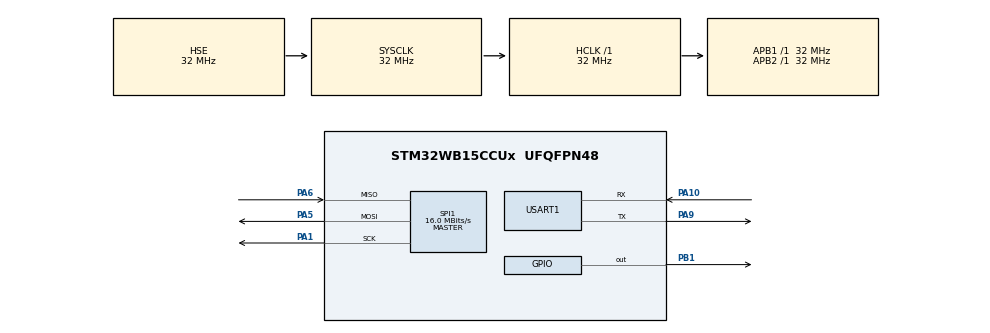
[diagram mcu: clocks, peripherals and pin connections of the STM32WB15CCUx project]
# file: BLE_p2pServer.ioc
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Dma.Request0=USART1_TX
Dma.USART1_TX.0.Direction=DMA_MEMORY_TO_PERIPH
Dma.USART1_TX.0.EventEnable=DISABLE
Dma.USART1_TX.0.Instance=DMA1_Channel4
Dma.USART1_TX.0.MemDataAlignment=DMA_MDATAALIGN_BYTE
Dma.USART1_TX.0.MemInc=DMA_MINC_ENABLE
Dma.USART1_TX.0.Mode=DMA_NORMAL
Dma.USART1_TX.0.PeriphDataAlignment=DMA_PDATAALIGN_BYTE
Dma.USART1_TX.0.PeriphInc=DMA_PINC_DISABLE
Dma.USART1_TX.0.Polarity=HAL_DMAMUX_REQ_GEN_RISING
Dma.USART1_TX.0.Priority=DMA_PRIORITY_LOW
Dma.USART1_TX.0.RequestNumber=1
Dma.USART1_TX.0.SignalID=NONE
Dma.USART1_TX.0.SyncEnable=DISABLE
Dma.USART1_TX.0.SyncPolarity=HAL_DMAMUX_SYNC_NO_EVENT
Dma.USART1_TX.0.SyncRequestNumber=1
Dma.USART1_TX.0.SyncSignalID=NONE
Mcu.Family=STM32WB
Mcu.Name=STM32WB15CCUx
Mcu.Package=UFQFPN48
NVIC.DMA1_Channel4_IRQn=true\:15\:0\:true\:false\:true\:false\:true\:true
NVIC.HSEM_IRQn=true\:0\:0\:false\:false\:true\:false\:true\:true
NVIC.IPCC_C1_RX_IRQn=true\:0\:0\:false\:false\:true\:true\:true\:true
NVIC.IPCC_C1_TX_IRQn=true\:0\:0\:false\:false\:true\:true\:true\:true
NVIC.PriorityGroup=NVIC_PRIORITYGROUP_4
NVIC.RTC_WKUP_IRQn=true\:0\:0\:false\:false\:true\:true\:true\:true
NVIC.USART1_IRQn=true\:0\:0\:false\:false\:true\:true\:true\:true
OSC_IN.Mode=HSE-External-Oscillator
OSC_IN.Signal=RCC_OSC_IN
OSC_OUT.Mode=HSE-External-Oscillator
OSC_OUT.Signal=RCC_OSC_OUT
PA1.Mode=Full_Duplex_Master
PA1.Signal=SPI1_SCK
PA10.GPIO_PuPd=GPIO_PULLUP
PA10.GPIO_Speed=GPIO_SPEED_FREQ_VERY_HIGH
PA10.Mode=Asynchronous
PA10.Signal=USART1_RX
PA5.Mode=Full_Duplex_Master
PA5.Signal=SPI1_MOSI
PA6.Mode=Full_Duplex_Master
PA6.Signal=SPI1_MISO
PA9.GPIO_PuPd=GPIO_PULLUP
PA9.GPIO_Speed=GPIO_SPEED_FREQ_VERY_HIGH
PA9.Mode=Asynchronous
PA9.Signal=USART1_TX
PB1.Signal=GPIO_Output
PC14-OSC32_IN.Mode=LSE-External-Oscillator
PC14-OSC32_IN.Signal=RCC_OSC32_IN
PC15-OSC32_OUT.Mode=LSE-External-Oscillator
PC15-OSC32_OUT.Signal=RCC_OSC32_OUT
ProjectManager.HeapSize=0x400
ProjectManager.StackSize=0x1000
ProjectManager.TargetToolchain=STM32CubeIDE
RCC.AHBFreq_Value=32000000
RCC.APB1Freq_Value=32000000
RCC.APB1TimFreq_Value=32000000
RCC.APB2Freq_Value=32000000
RCC.APB2TimFreq_Value=32000000
RCC.APB3Freq_Value=16000000
RCC.CK48CLockSelection=RCC_USBCLKSOURCE_PLL
RCC.CortexFreq_Value=32000000
RCC.HCLKFreq_Value=32000000
RCC.HSE_VALUE=32000000
RCC.HSI_VALUE=16000000
RCC.LSE_Drive_Capability=RCC_LSEDRIVE_LOW
RCC.MSIClockRange=RCC_MSIRANGE_10
RCC.PLLSourceVirtual=RCC_PLLSOURCE_HSI
RCC.RFWKPClockSelection=RCC_RFWKPCLKSOURCE_LSE
RCC.RNGCLockSelection=RCC_RNGCLKSOURCE_LSE
RCC.RTCClockSelection=RCC_RTCCLKSOURCE_LSE
RCC.SMPSCLockSelectionVirtual=RCC_SMPSCLKSOURCE_HSE
RCC.SMPSDivider=4
RCC.SYSCLKFreq_VALUE=32000000
RCC.SYSCLKSource=RCC_SYSCLKSOURCE_HSE
RCC.VCOOutputFreq_Value=128000000
RF1.Mode=RF1_Activate
RF1.Signal=RF_RF1
SPI1.CalculateBaudRate=16.0 MBits/s
SPI1.Direction=SPI_DIRECTION_2LINES
SPI1.Mode=SPI_MODE_MASTER
SPI1.VirtualType=VM_MASTER
STM32_WPAN.BLE_ADDR_TYPE=PUBLIC_ADDR
STM32_WPAN.BLE_CFG_CLT_MAX_NBR_CB=0
STM32_WPAN.BLE_CFG_SVC_MAX_NBR_CB=2
STM32_WPAN.BT_SIG_HEART_RATE_SENSOR=Disabled
STM32_WPAN.CFG_ADV_BD_ADDRESS=0x7257acd87a6c
STM32_WPAN.CFG_BLE_ATT_VALUE_ARRAY_SIZE=1290
STM32_WPAN.CFG_BLE_MAX_ADV_SET_NBR=2
STM32_WPAN.CFG_BLE_MAX_TX_POWER=6
STM32_WPAN.CFG_BLE_MIN_TX_POWER=-40
STM32_WPAN.CFG_BLE_NUM_GATT_ATTRIBUTES=30
STM32_WPAN.CFG_BLE_NUM_GATT_SERVICES=4
STM32_WPAN.CFG_DEBUGGER_SUPPORTED=1
STM32_WPAN.CFG_DEBUG_APP_TRACE=0
STM32_WPAN.CFG_DEBUG_BLE_TRACE=0
STM32_WPAN.CFG_DEBUG_TRACE_LIGHT=0
STM32_WPAN.CFG_DEBUG_TRACE_UART=hw_uart1
STM32_WPAN.CFG_HW_RESET_BY_FW=0
STM32_WPAN.CFG_HW_USART1_DMA_TX_SUPPORTED=0
STM32_WPAN.CFG_HW_USART1_ENABLED=1
STM32_WPAN.CFG_LPM_STANDBY_SUPPORTED=0
STM32_WPAN.CFG_LPM_SUPPORTED=1
STM32_WPAN.CFG_LP_CONN_ADV_INTERVAL_MAX=2500
STM32_WPAN.CFG_TX_POWER=(0x1F) /* 6dBm */
STM32_WPAN.CFG_USE_SMPS=0
STM32_WPAN.CUSTOM_P2P_SERVER=Disabled
STM32_WPAN.CUSTOM_TEMPLATE=Enabled
STM32_WPAN.DBG_TRACE_USE_CIRCULAR_QUEUE=0
STM32_WPAN.INCLUDE_AD_TYPE_128_BIT_SERV_UUID_CMPLT_LIST=0
STM32_WPAN.INCLUDE_AD_TYPE_16_BIT_SERV_UUID_CMPLT_LIST=1
STM32_WPAN.INCLUDE_AD_TYPE_COMPLETE_LOCAL_NAME=1
STM32_WPAN.INCLUDE_AD_TYPE_MANUFACTURER_SPECIFIC_DATA=1
STM32_WPAN.INCLUDE_AD_TYPE_SHORTENED_LOCAL_NAME=0
STM32_WPAN.INCLUDE_AD_TYPE_TX_POWER_LEVEL=1
STM32_WPAN.L2CAP_REQUEST_NEW_CONN_PARAM=1
STM32_WPAN.LOCAL_NAME=testloc
STM32_WPAN.LOCAL_NAME_FORMATTED=,'t','e','s','t','l','o','c'
STM32_WPAN.NUMBER_OF_SERVICES=1
STM32_WPAN.PAIRING_PARAMETERS=ON
STM32_WPAN.SERVICE1_CHAR1_GATT_NOTIFY_READ_REQ_AND_WAIT_FOR_APPL_RESP=GATT_NOTIFY_READ_REQ_AND_WAIT_FOR_APPL_RESP
STM32_WPAN.SERVICE1_CHAR1_GATT_NOTIFY_WRITE_REQ_AND_WAIT_FOR_APPL_RESP=GATT_NOTIFY_WRITE_REQ_AND_WAIT_FOR_APPL_RESP
STM32_WPAN.SERVICE1_CHAR1_LENGTH_CHARACTERISTIC=CHAR_VALUE_LEN_VARIABLE
STM32_WPAN.SERVICE1_CHAR1_LONG_NAME=bleuart_rxd
STM32_WPAN.SERVICE1_CHAR1_PROP_WRITE=CHAR_PROP_WRITE
STM32_WPAN.SERVICE1_CHAR1_SHORT_NAME=rx
STM32_WPAN.SERVICE1_CHAR1_UUID=6E 40 00 02 B5 A3 F3 93 E0 A9 E5 0E 24 DC CA 9E
STM32_WPAN.SERVICE1_CHAR1_UUID_128_INPUT_TYPE=1
STM32_WPAN.SERVICE1_CHAR1_VALUE_LENGTH=200
STM32_WPAN.SERVICE1_CHAR2_GATT_NOTIFY_READ_REQ_AND_WAIT_FOR_APPL_RESP=GATT_NOTIFY_READ_REQ_AND_WAIT_FOR_APPL_RESP
STM32_WPAN.SERVICE1_CHAR2_GATT_NOTIFY_WRITE_REQ_AND_WAIT_FOR_APPL_RESP=GATT_NOTIFY_WRITE_REQ_AND_WAIT_FOR_APPL_RESP
STM32_WPAN.SERVICE1_CHAR2_LENGTH_CHARACTERISTIC=CHAR_VALUE_LEN_VARIABLE
STM32_WPAN.SERVICE1_CHAR2_LONG_NAME=bleuart_txd
STM32_WPAN.SERVICE1_CHAR2_PROP_NOTIFY=CHAR_PROP_NOTIFY
STM32_WPAN.SERVICE1_CHAR2_PROP_READ=CHAR_PROP_READ
STM32_WPAN.SERVICE1_CHAR2_SHORT_NAME=tx
STM32_WPAN.SERVICE1_CHAR2_UUID=6E 40 00 03 B5 A3 F3 93 E0 A9 E5 0E 24 DC CA 9E
STM32_WPAN.SERVICE1_CHAR2_UUID_128_INPUT_TYPE=1
STM32_WPAN.SERVICE1_CHAR2_UUID_TYPE=0x02
STM32_WPAN.SERVICE1_CHAR2_VALUE_LENGTH=240
STM32_WPAN.SERVICE1_LONG_NAME=bleuart
STM32_WPAN.SERVICE1_NUMBER_OF_CHARACTERISTICS=2
STM32_WPAN.SERVICE1_SHORT_NAME=blrt
STM32_WPAN.SERVICE1_UUID=6E 40 00 01 B5 A3 F3 93 E0 A9 E5 0E 24 DC CA 9E
STM32_WPAN.SERVICE1_UUID_128_INPUT_TYPE=1
STM32_WPAN.SERVICE1_UUID_TYPE=0x02
STM32_WPAN.STATIC_RANDOM_ADDRESS=0x112233445566
USART1.VirtualMode-Asynchronous=VM_ASYNC
VP_HSEM_VS_HSEM.Mode=HSEM_Activate
VP_IPCC_VS_IPCC.Mode=IPCC_Activate
VP_MEMORYMAP_VS_MEMORYMAP.Mode=CurAppReg
VP_RNG_VS_RNG.Mode=RNG_Activate
VP_RTC_VS_RTC_Activate.Mode=RTC_Enabled
VP_RTC_VS_RTC_WakeUp_intern.Mode=WakeUp
VP_SEQUENCER_VS_SEQUENCER.Mode=SEQUENCER_Enabled
VP_STM32_WPAN_VS_BLE_HOST.Mode=STM32_WPAN_Enabled
VP_TINY_LPM_VS_TINY_LPM.Mode=TINY_LPM_Enabled
board=custom

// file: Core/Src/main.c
/* USER CODE BEGIN Header */
/**
 ******************************************************************************
 * @file           : main.c
 * @brief          : Main program body
 ******************************************************************************
 * @attention
 *
 * Copyright (c) 2023 STMicroelectronics.
 * All rights reserved.
 *
 * This software is licensed under terms that can be found in the LICENSE file
 * in the root directory of this software component.
 * If no LICENSE file comes with this software, it is provided AS-IS.
 *
 ******************************************************************************
 */
/* USER CODE END Header */
#include "main.h"
#include "dma.h"
#include "ipcc.h"
#include "memorymap.h"
#include "rng.h"
#include "rtc.h"
#include "spi.h"
#include "usart.h"
#include "gpio.h"

/* USER CODE BEGIN Includes */
#include <string.h>

#include "ble_events.h"
#include "custom_stm.h"
/* USER CODE END Includes */

void SystemClock_Config(void);
void PeriphCommonClock_Config(void);
/* USER CODE BEGIN PFP */
// Overwrite _write so printf prints to USB
int _write(int file, char* ptr, int len) {
  HAL_UART_Transmit(&huart1, ptr, len, HAL_MAX_DELAY);
  return len;
}
/* USER CODE END PFP */

int main(void)
{

  /* MCU Configuration--------------------------------------------------------*/

  /* Reset of all peripherals, Initializes the Flash interface and the Systick. */
  HAL_Init();
  /* Config code for STM32_WPAN (HSE Tuning must be done before system clock configuration) */
  MX_APPE_Config();

  /* Configure the system clock */
  SystemClock_Config();

/* Configure the peripherals common clocks */
  PeriphCommonClock_Config();

  /* IPCC initialisation */
  MX_IPCC_Init();

  /* Initialize all configured peripherals */
  MX_GPIO_Init();
  MX_DMA_Init();
  MX_RTC_Init();
  MX_USART1_UART_Init();
  MX_RNG_Init();
  MX_MEMORYMAP_Init();
  MX_SPI1_Init();

  /* Init code for STM32_WPAN */
  MX_APPE_Init();

  /* Infinite loop */
  /* USER CODE BEGIN WHILE */
  uint32_t last = HAL_GetTick();
  uint32_t last2 = HAL_GetTick();

  volatile int swap;

  while (1) {
    /* USER CODE END WHILE */
    MX_APPE_Process();

    /* USER CODE BEGIN 3 */
    uint32_t now = HAL_GetTick();

    if (swap) {
      printf("Swapping PHYs");
      PHY_Configuration();
      swap = 0;
    }

    if ((now - last) > 65) {
      last = now;

      for (int i = 0; i < 100; i++) {
        int retcode = BLE_STATUS_INVALID_HANDLE;  // arbitrary bad code
        int retry_count = 0;
        do {
          char str[240];                  // 15 per row in bluefruit app
          memset(str, 'o', sizeof(str));  // pad out with 'o'
          int len = snprintf(str, sizeof(str), "Hello at %lu:%i", now, i);
          str[len] = '_';
          retcode = Custom_STM_App_Update_Char_EX(CUSTOM_STM_TX, (uint8_t*)str,
                                                  sizeof(str));
          // printf(str);

          if (retcode != BLE_STATUS_SUCCESS) {
            // printf("Link saturated? retrying later\n");
            // HAL_Delay(1);
          }
        } while (retcode != BLE_STATUS_SUCCESS && (retry_count++) < 10);
      }

      // HAL_UART_Transmit(&huart1, string, strlen(string), HAL_MAX_DELAY);
    }
  }

  /* USER CODE END 3 */
}

void SystemClock_Config(void)
{
  RCC_OscInitTypeDef RCC_OscInitStruct = {0};
  RCC_ClkInitTypeDef RCC_ClkInitStruct = {0};

  /** Configure LSE Drive Capability
  */
  HAL_PWR_EnableBkUpAccess();
  __HAL_RCC_LSEDRIVE_CONFIG(RCC_LSEDRIVE_LOW);

  /** Initializes the RCC Oscillators according to the specified parameters
  * in the RCC_OscInitTypeDef structure.
  */
  RCC_OscInitStruct.OscillatorType = RCC_OSCILLATORTYPE_HSI|RCC_OSCILLATORTYPE_HSE
                              |RCC_OSCILLATORTYPE_LSE;
  RCC_OscInitStruct.HSEState = RCC_HSE_ON;
  RCC_OscInitStruct.LSEState = RCC_LSE_ON;
  RCC_OscInitStruct.HSIState = RCC_HSI_ON;
  RCC_OscInitStruct.HSICalibrationValue = RCC_HSICALIBRATION_DEFAULT;
  RCC_OscInitStruct.PLL.PLLState = RCC_PLL_NONE;
  if (HAL_RCC_OscConfig(&RCC_OscInitStruct) != HAL_OK)
  {
    Error_Handler();
  }

  /** Configure the SYSCLKSource, HCLK, PCLK1 and PCLK2 clocks dividers
  */
  RCC_ClkInitStruct.ClockType = RCC_CLOCKTYPE_HCLK4|RCC_CLOCKTYPE_HCLK2
                              |RCC_CLOCKTYPE_HCLK|RCC_CLOCKTYPE_SYSCLK
                              |RCC_CLOCKTYPE_PCLK1|RCC_CLOCKTYPE_PCLK2;
  RCC_ClkInitStruct.SYSCLKSource = RCC_SYSCLKSOURCE_HSE;
  RCC_ClkInitStruct.AHBCLKDivider = RCC_SYSCLK_DIV1;
  RCC_ClkInitStruct.APB1CLKDivider = RCC_HCLK_DIV1;
  RCC_ClkInitStruct.APB2CLKDivider = RCC_HCLK_DIV1;
  RCC_ClkInitStruct.AHBCLK2Divider = RCC_SYSCLK_DIV1;
  RCC_ClkInitStruct.AHBCLK4Divider = RCC_SYSCLK_DIV1;

  if (HAL_RCC_ClockConfig(&RCC_ClkInitStruct, FLASH_LATENCY_1) != HAL_OK)
  {
    Error_Handler();
  }
}

void PeriphCommonClock_Config(void)
{
  RCC_PeriphCLKInitTypeDef PeriphClkInitStruct = {0};

  /** Initializes the peripherals clock
  */
  PeriphClkInitStruct.PeriphClockSelection = RCC_PERIPHCLK_SMPS|RCC_PERIPHCLK_RFWAKEUP;
  PeriphClkInitStruct.RFWakeUpClockSelection = RCC_RFWKPCLKSOURCE_LSE;
  PeriphClkInitStruct.SmpsClockSelection = RCC_SMPSCLKSOURCE_HSE;
  PeriphClkInitStruct.SmpsDivSelection = RCC_SMPSCLKDIV_RANGE1;

  if (HAL_RCCEx_PeriphCLKConfig(&PeriphClkInitStruct) != HAL_OK)
  {
    Error_Handler();
  }
}

void Error_Handler(void)
{
  __disable_irq();
  while (1) {
  }
}

#ifdef  USE_FULL_ASSERT
/**
  * @brief  Reports the name of the source file and the source line number
  *         where the assert_param error has occurred.
  * @param  file: pointer to the source file name
  * @param  line: assert_param error line source number
  * @retval None
  */
void assert_failed(uint8_t *file, uint32_t line)
{
  /* USER CODE BEGIN 6 */
  /* User can add his own implementation to report the file name and line
     number, ex: printf("Wrong parameters value: file %s on line %d\r\n", file,
     line) */
  /* USER CODE END 6 */
}
#endif /* USE_FULL_ASSERT */
